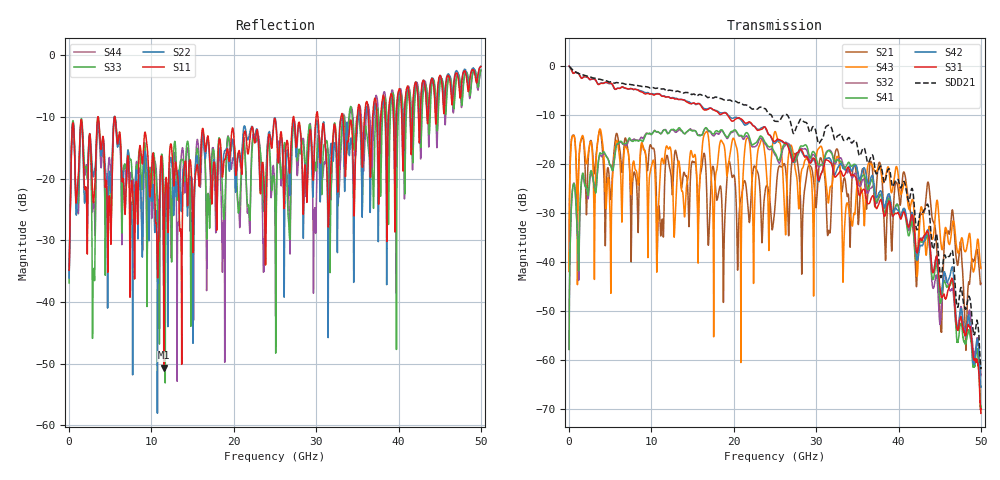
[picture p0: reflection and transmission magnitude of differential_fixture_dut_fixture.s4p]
# GHz S MA R 50
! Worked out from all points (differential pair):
!   5000 points, 10 MHz to 50 GHz, reference 50 ohm
!   strongest paths, dB at 10 MHz, 12.51 GHz, 25.01 GHz, 37.51 GHz, 50 GHz:
!     S31: -0.1, -6.6, -15.4, -28.7, -70.9
!     S42: -0.1, -6.5, -15.8, -26.4, -65.6
!     S41: -57.9, -13.0, -17.8, -27.1, -69.9
!     S32: -57.8, -13.1, -18.2, -27.5, -63.3
!     S43: -42.0, -20.5, -13.5, -20.9, -41.4
!     S21: -41.9, -25.7, -28.6, -20.8, -44.4
!   taken as a pair (ports 1,2 in; 3,4 out), SDD21 dB: -0.1, -5.1, -11.4, -21.5, -61.9
!   lowest |S11| = -50.6 dB at 11.5 GHz (marker M1), VSWR 1.01, Z = 49.9 - j0.285 ohm
!   |S11| at or under -10 dB: start of sweep to 3.5 GHz; 5.57 GHz to 27.23 GHz (21.66 GHz wide, 132 % of centre); 30.22 GHz to 33.02 GHz (2.799 GHz wide, 8.85 % of centre)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
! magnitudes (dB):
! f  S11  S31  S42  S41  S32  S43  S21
! 10 MHz  -34.9  -0.1  -0.1  -57.9  -57.8  -42.0  -41.9
! 550 MHz  -11.6  -1.6  -1.6  -24.1  -24.0  -14.3  -14.2
! 2.97 GHz  -23.9  -2.7  -2.7  -23.7  -23.8  -24.3  -20.5
! 3.56 GHz  -10.1  -3.9  -3.7  -19.6  -19.7  -14.4  -14.4
! 11.5 GHz  -50.6  -6.3  -6.2  -13.1  -13.1  -20.0  -32.0
! 34.7 GHz  -20.4  -22.6  -20.4  -20.1  -22.0  -30.3  -20.4
! 50 GHz  -1.8  -70.9  -65.6  -69.9  -63.3  -41.4  -44.4
